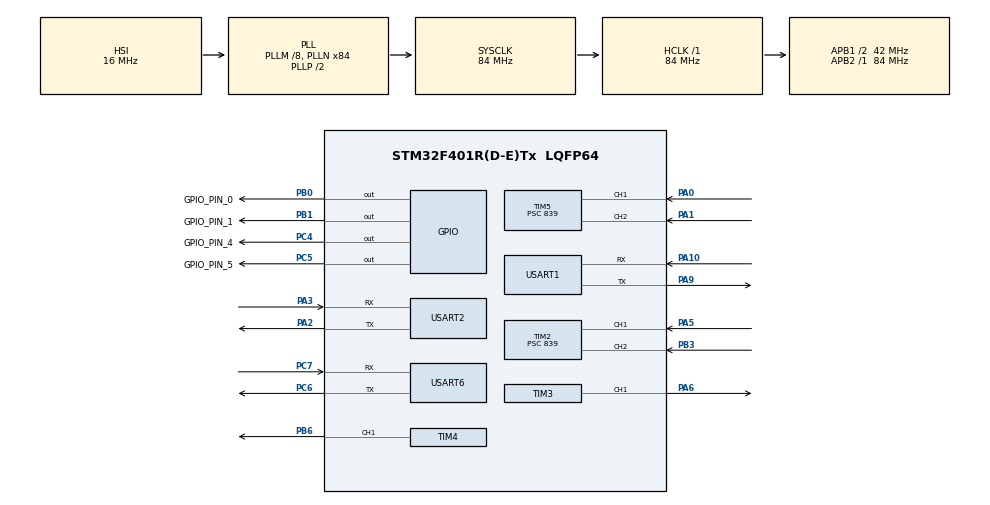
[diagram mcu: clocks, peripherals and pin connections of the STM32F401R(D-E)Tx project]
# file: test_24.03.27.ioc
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Dma.Request0=USART6_RX
Dma.Request1=USART6_TX
Dma.Request2=USART1_RX
Dma.Request3=USART2_RX
Dma.Request4=USART2_TX
Dma.Request5=USART1_TX
Dma.USART1_RX.2.Direction=DMA_PERIPH_TO_MEMORY
Dma.USART1_RX.2.FIFOMode=DMA_FIFOMODE_DISABLE
Dma.USART1_RX.2.Instance=DMA2_Stream2
Dma.USART1_RX.2.MemDataAlignment=DMA_MDATAALIGN_BYTE
Dma.USART1_RX.2.MemInc=DMA_MINC_ENABLE
Dma.USART1_RX.2.Mode=DMA_CIRCULAR
Dma.USART1_RX.2.PeriphDataAlignment=DMA_PDATAALIGN_BYTE
Dma.USART1_RX.2.PeriphInc=DMA_PINC_DISABLE
Dma.USART1_RX.2.Priority=DMA_PRIORITY_LOW
Dma.USART1_TX.5.Direction=DMA_MEMORY_TO_PERIPH
Dma.USART1_TX.5.FIFOMode=DMA_FIFOMODE_DISABLE
Dma.USART1_TX.5.Instance=DMA2_Stream7
Dma.USART1_TX.5.MemDataAlignment=DMA_MDATAALIGN_BYTE
Dma.USART1_TX.5.MemInc=DMA_MINC_ENABLE
Dma.USART1_TX.5.Mode=DMA_CIRCULAR
Dma.USART1_TX.5.PeriphDataAlignment=DMA_PDATAALIGN_BYTE
Dma.USART1_TX.5.PeriphInc=DMA_PINC_DISABLE
Dma.USART1_TX.5.Priority=DMA_PRIORITY_LOW
Dma.USART2_RX.3.Direction=DMA_PERIPH_TO_MEMORY
Dma.USART2_RX.3.FIFOMode=DMA_FIFOMODE_DISABLE
Dma.USART2_RX.3.Instance=DMA1_Stream5
Dma.USART2_RX.3.MemDataAlignment=DMA_MDATAALIGN_BYTE
Dma.USART2_RX.3.MemInc=DMA_MINC_ENABLE
Dma.USART2_RX.3.Mode=DMA_CIRCULAR
Dma.USART2_RX.3.PeriphDataAlignment=DMA_PDATAALIGN_BYTE
Dma.USART2_RX.3.PeriphInc=DMA_PINC_DISABLE
Dma.USART2_RX.3.Priority=DMA_PRIORITY_LOW
Dma.USART2_TX.4.Direction=DMA_MEMORY_TO_PERIPH
Dma.USART2_TX.4.FIFOMode=DMA_FIFOMODE_DISABLE
Dma.USART2_TX.4.Instance=DMA1_Stream6
Dma.USART2_TX.4.MemDataAlignment=DMA_MDATAALIGN_BYTE
Dma.USART2_TX.4.MemInc=DMA_MINC_ENABLE
Dma.USART2_TX.4.Mode=DMA_CIRCULAR
Dma.USART2_TX.4.PeriphDataAlignment=DMA_PDATAALIGN_BYTE
Dma.USART2_TX.4.PeriphInc=DMA_PINC_DISABLE
Dma.USART2_TX.4.Priority=DMA_PRIORITY_LOW
Dma.USART6_RX.0.Direction=DMA_PERIPH_TO_MEMORY
Dma.USART6_RX.0.FIFOMode=DMA_FIFOMODE_DISABLE
Dma.USART6_RX.0.Instance=DMA2_Stream1
Dma.USART6_RX.0.MemDataAlignment=DMA_MDATAALIGN_BYTE
Dma.USART6_RX.0.MemInc=DMA_MINC_ENABLE
Dma.USART6_RX.0.Mode=DMA_NORMAL
Dma.USART6_RX.0.PeriphDataAlignment=DMA_PDATAALIGN_BYTE
Dma.USART6_RX.0.PeriphInc=DMA_PINC_DISABLE
Dma.USART6_RX.0.Priority=DMA_PRIORITY_LOW
Dma.USART6_TX.1.Direction=DMA_MEMORY_TO_PERIPH
Dma.USART6_TX.1.FIFOMode=DMA_FIFOMODE_DISABLE
Dma.USART6_TX.1.Instance=DMA2_Stream6
Dma.USART6_TX.1.MemDataAlignment=DMA_MDATAALIGN_BYTE
Dma.USART6_TX.1.MemInc=DMA_MINC_ENABLE
Dma.USART6_TX.1.Mode=DMA_NORMAL
Dma.USART6_TX.1.PeriphDataAlignment=DMA_PDATAALIGN_BYTE
Dma.USART6_TX.1.PeriphInc=DMA_PINC_DISABLE
Dma.USART6_TX.1.Priority=DMA_PRIORITY_LOW
Mcu.Family=STM32F4
Mcu.Name=STM32F401R(D-E)Tx
Mcu.Package=LQFP64
NVIC.DMA1_Stream5_IRQn=true\:0\:0\:false\:false\:true\:false\:true\:true
NVIC.DMA1_Stream6_IRQn=true\:0\:0\:false\:false\:true\:false\:true\:true
NVIC.DMA2_Stream1_IRQn=true\:0\:0\:false\:false\:true\:false\:true\:true
NVIC.DMA2_Stream2_IRQn=true\:0\:0\:false\:false\:true\:false\:true\:true
NVIC.DMA2_Stream6_IRQn=true\:0\:0\:false\:false\:true\:false\:true\:true
NVIC.DMA2_Stream7_IRQn=true\:0\:0\:false\:false\:true\:false\:true\:true
NVIC.PriorityGroup=NVIC_PRIORITYGROUP_4
NVIC.TIM1_BRK_TIM9_IRQn=true\:0\:0\:false\:false\:true\:true\:true\:true
NVIC.TIM2_IRQn=true\:0\:0\:false\:true\:true\:1\:true\:true\:true
NVIC.TIM3_IRQn=true\:0\:0\:false\:true\:true\:2\:true\:true\:true
NVIC.TIM4_IRQn=true\:0\:0\:false\:true\:true\:3\:true\:true\:true
NVIC.TIM5_IRQn=true\:0\:0\:false\:true\:true\:4\:true\:true\:true
NVIC.USART1_IRQn=true\:0\:0\:false\:false\:true\:true\:true\:true
NVIC.USART2_IRQn=true\:0\:0\:false\:false\:true\:true\:true\:true
NVIC.USART6_IRQn=true\:0\:0\:false\:false\:true\:true\:true\:true
PA0-WKUP.Signal=S_TIM5_CH1
PA1.Signal=S_TIM5_CH2
PA10.Mode=Asynchronous
PA10.Signal=USART1_RX
PA2.Mode=Asynchronous
PA2.Signal=USART2_TX
PA3.Mode=Asynchronous
PA3.Signal=USART2_RX
PA5.Signal=S_TIM2_CH1_ETR
PA6.Signal=S_TIM3_CH1
PA9.Mode=Asynchronous
PA9.Signal=USART1_TX
PB0.GPIO_Label=GPIO_PIN_0
PB0.Signal=GPIO_Output
PB1.GPIO_Label=GPIO_PIN_1
PB1.Signal=GPIO_Output
PB3.Signal=S_TIM2_CH2
PB6.Signal=S_TIM4_CH1
PC4.GPIO_Label=GPIO_PIN_4
PC4.Signal=GPIO_Output
PC5.GPIO_Label=GPIO_PIN_5
PC5.Signal=GPIO_Output
PC6.Mode=Asynchronous
PC6.Signal=USART6_TX
PC7.Mode=Asynchronous
PC7.Signal=USART6_RX
ProjectManager.HeapSize=0x200
ProjectManager.StackSize=0x400
ProjectManager.TargetToolchain=STM32CubeIDE
RCC.48MHZClocksFreq_Value=42000000
RCC.AHBFreq_Value=84000000
RCC.APB1CLKDivider=RCC_HCLK_DIV2
RCC.APB1Freq_Value=42000000
RCC.APB1TimFreq_Value=84000000
RCC.APB2Freq_Value=84000000
RCC.APB2TimFreq_Value=84000000
RCC.CortexFreq_Value=84000000
RCC.HCLKFreq_Value=84000000
RCC.HSE_VALUE=25000000
RCC.HSI_VALUE=16000000
RCC.LSE_VALUE=32768
RCC.PLLM=8
RCC.PLLN=84
RCC.SYSCLKFreq_VALUE=84000000
RCC.SYSCLKSource=RCC_SYSCLKSOURCE_PLLCLK
RCC.VCOOutputFreq_Value=168000000
SH.S_TIM2_CH1_ETR.0=TIM2_CH1,Encoder_Interface
SH.S_TIM2_CH2.0=TIM2_CH2,Encoder_Interface
SH.S_TIM3_CH1.0=TIM3_CH1,PWM Generation1 CH1
SH.S_TIM4_CH1.0=TIM4_CH1,PWM Generation1 CH1
SH.S_TIM5_CH1.0=TIM5_CH1,Encoder_Interface
SH.S_TIM5_CH2.0=TIM5_CH2,Encoder_Interface
TIM2.EncoderMode=TIM_ENCODERMODE_TI12
TIM2.Period=99
TIM2.Prescaler=839
TIM3.Channel-PWM\ Generation1\ CH1=TIM_CHANNEL_1
TIM3.Period=4200-1
TIM4.Channel-PWM\ Generation1\ CH1=TIM_CHANNEL_1
TIM4.Period=4200-1
TIM5.EncoderMode=TIM_ENCODERMODE_TI12
TIM5.Period=99
TIM5.Prescaler=839
TIM9.Period=99
TIM9.Prescaler=839
USART1.VirtualMode=VM_ASYNC
USART2.VirtualMode=VM_ASYNC
USART6.VirtualMode=VM_ASYNC
VP_TIM9_VS_ClockSourceINT.Mode=Internal
board=custom

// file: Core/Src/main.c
/* USER CODE BEGIN Header */
/**
  ******************************************************************************
  * @file           : main.c
  * @brief          : Main program body
  ******************************************************************************
  * @attention
  *
  * Copyright (c) 2024 STMicroelectronics.
  * All rights reserved.
  *
  * This software is licensed under terms that can be found in the LICENSE file
  * in the root directory of this software component.
  * If no LICENSE file comes with this software, it is provided AS-IS.
  *
  ******************************************************************************
  */
/* USER CODE END Header */
#include "main.h"

/* USER CODE BEGIN Includes */
#include <stdlib.h>
#include <stdio.h>
#define _USE_MATH_DEFINES
#include <sys/time.h>
#include <math.h>
/* USER CODE END Includes */

TIM_HandleTypeDef htim2;
TIM_HandleTypeDef htim3;
TIM_HandleTypeDef htim4;
TIM_HandleTypeDef htim5;
TIM_HandleTypeDef htim9;

UART_HandleTypeDef huart1;
UART_HandleTypeDef huart2;
UART_HandleTypeDef huart6;
DMA_HandleTypeDef hdma_usart1_rx;
DMA_HandleTypeDef hdma_usart1_tx;
DMA_HandleTypeDef hdma_usart2_rx;
DMA_HandleTypeDef hdma_usart2_tx;
DMA_HandleTypeDef hdma_usart6_rx;
DMA_HandleTypeDef hdma_usart6_tx;

/* USER CODE BEGIN PV */
unsigned char IMUarray[31] = {0};
char *pos = NULL;
float roll = 0.0, pitch = 0.0, yaw = 0.0;
float roll_tp = 0.0, pitch_tp = 0.0, yaw_tp = 0.0;
int cnt0 = 0, cnt1 = 0, cnt2 = 0, cnt3 = 0, cnt4 = 0;
char alpha[10] = {0}, beta[10] = {0}, gamm[10] = {0};
double target_pitch = 0;
double target_v = 0;
//double Kp = 17.35555555;
double Kp = 15.55555555;
//double Ki = 0.000001;
//double Kd = 5.065;
double Kd = 0.5765;
double Ki=0;//1.0000000001;
//double Kd=0;
double pTerm, iTerm, dTerm;
double prevError = 0;
double integratedSum = 0;
struct timeval tv, tv2;
double current_pitch = 0;
double current_w1 = 0;
double current_w2 = 0;

uint16_t counter1 = 0;
uint16_t counter2 = 0;
uint16_t current_counter1 = 0;
uint16_t current_counter2 = 0;
float count1_w = 0.0;
float count2_w = 0.0;
uint16_t Motor_CCR1 = 2100;
uint16_t Motor_CCR2 = 2100;
int cnt = 0;
int cnt_20ms=0;
int32_t delta_count1;
int32_t delta_count2;
double angle1 = 0;
double angle2 = 0;
double angle1_pre = 0;
double angle2_pre = 0;
double omega1 = 0;
double omega2 = 0;
double rpm1 = 0;
double rpm2 = 0;

double d_error;
int flag = 0;
double eeeeeeeeeee = 0;
double d_deltaT = 0.020;
double c_roll;

int a = 0;
/* USER CODE END PV */

void SystemClock_Config(void);
static void MX_GPIO_Init(void);
static void MX_DMA_Init(void);
static void MX_TIM2_Init(void);
static void MX_TIM3_Init(void);
static void MX_TIM9_Init(void);
static void MX_TIM4_Init(void);
static void MX_TIM5_Init(void);
static void MX_USART6_UART_Init(void);
static void MX_USART1_UART_Init(void);
static void MX_USART2_UART_Init(void);
static void MX_NVIC_Init(void);
/* USER CODE BEGIN PFP */
double PI(double target_v, double current_v);
double PD(double current_pitch);
void get_pitch();
/* USER CODE END PFP */

/* USER CODE BEGIN 0 */
void HAL_TIM_PeriodElapsedCallback(TIM_HandleTypeDef *htim){
	if(htim == &htim9){ //?  ?  주기]
		cnt++; //0.001s

		angle1_pre = angle1;
		current_counter1 = counter1;
		counter1 = TIM2->CNT;
		delta_count1 = (counter1 - current_counter1);

		angle2_pre = angle2;
		current_counter2 = counter2;
		counter2 = TIM5->CNT;
		delta_count2 = (counter2 - current_counter2);

		if(counter1>60000 && current_counter1 < 10000) delta_count1 -= 65535;
		else if(counter1 < 10000 && current_counter1 > 60000) delta_count1 += 65535;
		angle1 += (((double)delta_count1/2048.0/19.0)*360)*(M_PI/180.0);
		omega1 = (angle1 - angle1_pre) / 0.001;
		rpm1 = ((60/(2*M_PI))*omega1);

		if(counter2>60000 && current_counter2 < 10000) delta_count2 -= 65535;
		else if(counter2 < 10000 && current_counter2 > 60000) delta_count2 += 65535;
		angle2 += (((double)delta_count2/2048.0/19.0)*360)*(M_PI/180.0);
		omega2 = (angle2 - angle2_pre) / 0.001;
		rpm2 = ((60/(2*M_PI))*omega2);

		// 10 ??????  2ms(encoder)  20ms(imu)

		if(cnt%20 == 0){
			d_error = target_pitch - current_pitch;
			cnt_20ms++;
			get_pitch();
			current_pitch = roll; // 멈추�?? if문에 ?���??
			c_roll = PD(current_pitch);

			HAL_GPIO_WritePin(GPIOC, GPIO_PIN_5, GPIO_PIN_SET);
			HAL_GPIO_WritePin(GPIOC, GPIO_PIN_4, GPIO_PIN_RESET);
			HAL_GPIO_WritePin(GPIOB, GPIO_PIN_0, GPIO_PIN_SET);
			HAL_GPIO_WritePin(GPIOB, GPIO_PIN_1, GPIO_PIN_RESET);

			if(PD(current_pitch)<4200 && PD(current_pitch)>0){
				target_v = PD(current_pitch);
			}

			if(PD(current_pitch)<0 ){
				target_v = -1*PD(current_pitch);
				HAL_GPIO_WritePin(GPIOC, GPIO_PIN_5, GPIO_PIN_RESET);
				HAL_GPIO_WritePin(GPIOC, GPIO_PIN_4, GPIO_PIN_RESET);
				HAL_GPIO_WritePin(GPIOB, GPIO_PIN_0, GPIO_PIN_RESET);
				HAL_GPIO_WritePin(GPIOB, GPIO_PIN_1, GPIO_PIN_RESET);

			}

			if(PD(current_pitch)>4200){
				target_v = 4200;
				//최댓 ?????? ?   ??????
			}

			if(current_pitch > 15 || current_pitch <-15){
				target_v = 0;
			}

			prevError = d_error;
		}
//		Motor_CCR = target_v;

		if(cnt%2 == 0){

			current_w1 = omega1;
			Motor_CCR1 = PI(target_v, current_w1);
			current_w2 = omega2;
			Motor_CCR2 = PI(target_v, current_w2);
			if(current_pitch <5 && current_pitch >-5){
				Kp = 15.05;
				Kd = 0.655;
				Ki = 0.01;
				if(PI(target_v, current_w1)<4200 && PI(target_v, current_w1)>0){
					Motor_CCR1 = PI(target_v, current_w1);
				}
				if(PI(target_v, current_w1)<0){
					Motor_CCR1 = -1*PI(target_v, current_w1);
					//모터 방향 ?  ?
				}
				if(PI(target_v, current_w1)>4200){
					Motor_CCR1 = 4200;

					//최댓 ?????? ?   ??????
				}
				if(PI(target_v, current_w2)<4200 && PI(target_v, current_w2)>0){
					Motor_CCR2 = PI(target_v, current_w2);
				}
				if(PI(target_v, current_w2)<0){
					Motor_CCR2 = -1*PI(target_v, current_w2);
					//모터 방향 ?  ?
				}
				if(PI(target_v, current_w2)>4200){
					Motor_CCR2 = 4200;
					//최댓 ?????? ?   ??????
				}
			}
			else if((current_pitch < 10 && current_pitch >5) || (current_pitch >-10 && current_pitch <-5)){
				Kp = 17.0;
				Kd = 0.2;
				Ki = 0.001;
				if(PI(target_v, current_w1)<4200 && PI(target_v, current_w1)>0){
					Motor_CCR1 = PI(target_v, current_w1);
				}
				if(PI(target_v, current_w1)<0){
					Motor_CCR1 = -1*PI(target_v, current_w1);
					//모터 방향 ?  ?
				}
				if(PI(target_v, current_w1)>4200){
					Motor_CCR1 = 4200;
				}
				if(PI(target_v, current_w2)<4200 && PI(target_v, current_w2)>0){
					Motor_CCR2 = PI(target_v, current_w2);
				}
				if(PI(target_v, current_w2)<0){
					Motor_CCR2 = -1*PI(target_v, current_w2);
					//모터 방향 ?  ?
				}
				if(PI(target_v, current_w2)>4200){
					Motor_CCR2 = 4200;
					//최댓 ?????? ?   ??????
				}
			}
			else if((current_pitch < 15 && current_pitch >10) || (current_pitch >-15 && current_pitch <-10)) {
				Motor_CCR1 = 4200;
				Motor_CCR2 = 4200;
			}
//			else if((current_pitch < 15 && current_pitch >10) || (current_pitch >-15 && current_pitch <-10)){
//				Kp = 19.5;
//				Kd = 0.08;
//				Ki = 0.00001;
//				if(PI(target_v, current_w1)<4200 && PI(target_v, current_w1)>0){
//					Motor_CCR1 = PI(target_v, current_w1);
//				}
//				if(PI(target_v, current_w1)<0){
//					Motor_CCR1 = -1*PI(target_v, current_w1);
//					//모터 방향 ?  ?
//				}
//				if(PI(target_v, current_w1)>4200){
//					Motor_CCR1 = 4200;
//				}
//				if(PI(target_v, current_w2)<4200 && PI(target_v, current_w2)>0){
//					Motor_CCR2 = PI(target_v, current_w2);
//				}
//				if(PI(target_v, current_w2)<0){
//					Motor_CCR2 = -1*PI(target_v, current_w2);
//					//모터 방향 ?  ?
//				}
//				if(PI(target_v, current_w2)>4200){
//					Motor_CCR2 = 4200;
//					//최댓 ?????? ?   ??????
//				}
//			}
/*			if(PI(target_v, current_w1)<4200 && PI(target_v, current_w1)>0){
				Motor_CCR1 = PI(target_v, current_w1);
			}
			if(PI(target_v, current_w1)<0){
				Motor_CCR1 = -1*PI(target_v, current_w1);
				//모터 방향 ?  ?
			}
			if(PI(target_v, current_w1)>4200){
				Motor_CCR1 = 4200;
				//최댓 ?????? ?   ??????
			}*/

			/*if(PI(target_v, current_w2)<4200 && PI(target_v, current_w2)>0){
				Motor_CCR2 = PI(target_v, current_w2);
			}
			if(PI(target_v, current_w2)<0){
				Motor_CCR2 = -1*PI(target_v, current_w2);
//				//모터 방향 ?  ?
			}
			if(PI(target_v, current_w2)>4200){
				Motor_CCR2 = 4200;
				//최댓 ?????? ?   ??????
			}*/
			else if(target_v == 0){
				Motor_CCR1 = 0;
				Motor_CCR2 = 0;
			}
		}

		// Motor_CCR = tager_v + Motor_CCR;  // target_v + Motor_CCR

		TIM3->CCR1 = Motor_CCR1;
		/*HAL_GPIO_WritePin(GPIOB, GPIO_PIN_0, GPIO_PIN_SET);
		HAL_GPIO_WritePin(GPIOB, GPIO_PIN_1, GPIO_PIN_RESET); //break*/

		TIM4->CCR1 = Motor_CCR2;
		/*HAL_GPIO_WritePin(GPIOC, GPIO_PIN_5, GPIO_PIN_SET);
		HAL_GPIO_WritePin(GPIOC, GPIO_PIN_4, GPIO_PIN_RESET); //break*/

//
//		counter1 = TIM2->CNT;
//		counter2 = TIM5->CNT;
//		delta_count1 = (int32_t)(counter1 - current_counter1);
//		delta_count2 = (int32_t)(counter2 - current_counter2);
//		count1_w = (2*M_PI*delta_count1)/(0.1*512*4);
//		count2_w = (2*M_PI*delta_count2)/(0.1*512*4);
//		current_counter1 = counter1;
//		current_counter2 = counter2;
	}

}
/* USER CODE END 0 */

int main(void)
{

  /* MCU Configuration--------------------------------------------------------*/

  /* Reset of all peripherals, Initializes the Flash interface and the Systick. */
  HAL_Init();

  /* Configure the system clock */
  SystemClock_Config();

  /* Initialize all configured peripherals */
  MX_GPIO_Init();
  MX_DMA_Init();
  MX_TIM2_Init();
  MX_TIM3_Init();
  MX_TIM9_Init();
  MX_TIM4_Init();
  MX_TIM5_Init();
  MX_USART6_UART_Init();
  MX_USART1_UART_Init();
  MX_USART2_UART_Init();

  /* Initialize interrupts */
  MX_NVIC_Init();
  /* USER CODE BEGIN 2 */
  HAL_TIM_Encoder_Start_IT(&htim2, TIM_CHANNEL_ALL);
  HAL_TIM_Encoder_Start_IT(&htim5, TIM_CHANNEL_ALL);

  HAL_TIM_Base_Start_IT(&htim9);
  HAL_TIM_PWM_Start(&htim3, TIM_CHANNEL_1);
  HAL_TIMEx_PWMN_Start(&htim3, TIM_CHANNEL_1);
  HAL_TIM_PWM_Start(&htim4, TIM_CHANNEL_1);
  HAL_TIMEx_PWMN_Start(&htim4, TIM_CHANNEL_1);
  /* USER CODE END 2 */

  /* Infinite loop */
  while (1)
  {

  }
}

void SystemClock_Config(void)
{
  RCC_OscInitTypeDef RCC_OscInitStruct = {0};
  RCC_ClkInitTypeDef RCC_ClkInitStruct = {0};

  /** Configure the main internal regulator output voltage
  */
  __HAL_RCC_PWR_CLK_ENABLE();
  __HAL_PWR_VOLTAGESCALING_CONFIG(PWR_REGULATOR_VOLTAGE_SCALE2);

  /** Initializes the RCC Oscillators according to the specified parameters
  * in the RCC_OscInitTypeDef structure.
  */
  RCC_OscInitStruct.OscillatorType = RCC_OSCILLATORTYPE_HSI;
  RCC_OscInitStruct.HSIState = RCC_HSI_ON;
  RCC_OscInitStruct.HSICalibrationValue = RCC_HSICALIBRATION_DEFAULT;
  RCC_OscInitStruct.PLL.PLLState = RCC_PLL_ON;
  RCC_OscInitStruct.PLL.PLLSource = RCC_PLLSOURCE_HSI;
  RCC_OscInitStruct.PLL.PLLM = 8;
  RCC_OscInitStruct.PLL.PLLN = 84;
  RCC_OscInitStruct.PLL.PLLP = RCC_PLLP_DIV2;
  RCC_OscInitStruct.PLL.PLLQ = 4;
  if (HAL_RCC_OscConfig(&RCC_OscInitStruct) != HAL_OK)
  {
    Error_Handler();
  }

  /** Initializes the CPU, AHB and APB buses clocks
  */
  RCC_ClkInitStruct.ClockType = RCC_CLOCKTYPE_HCLK|RCC_CLOCKTYPE_SYSCLK
                              |RCC_CLOCKTYPE_PCLK1|RCC_CLOCKTYPE_PCLK2;
  RCC_ClkInitStruct.SYSCLKSource = RCC_SYSCLKSOURCE_PLLCLK;
  RCC_ClkInitStruct.AHBCLKDivider = RCC_SYSCLK_DIV1;
  RCC_ClkInitStruct.APB1CLKDivider = RCC_HCLK_DIV2;
  RCC_ClkInitStruct.APB2CLKDivider = RCC_HCLK_DIV1;

  if (HAL_RCC_ClockConfig(&RCC_ClkInitStruct, FLASH_LATENCY_2) != HAL_OK)
  {
    Error_Handler();
  }
}

/**
  * @brief NVIC Configuration.
  * @retval None
  */
static void MX_NVIC_Init(void)
{
  /* TIM2_IRQn interrupt configuration */
  HAL_NVIC_SetPriority(TIM2_IRQn, 0, 0);
  HAL_NVIC_EnableIRQ(TIM2_IRQn);
  /* TIM3_IRQn interrupt configuration */
  HAL_NVIC_SetPriority(TIM3_IRQn, 0, 0);
  HAL_NVIC_EnableIRQ(TIM3_IRQn);
  /* TIM4_IRQn interrupt configuration */
  HAL_NVIC_SetPriority(TIM4_IRQn, 0, 0);
  HAL_NVIC_EnableIRQ(TIM4_IRQn);
  /* TIM5_IRQn interrupt configuration */
  HAL_NVIC_SetPriority(TIM5_IRQn, 0, 0);
  HAL_NVIC_EnableIRQ(TIM5_IRQn);
}

static void MX_TIM2_Init(void)
{

  TIM_Encoder_InitTypeDef sConfig = {0};
  TIM_MasterConfigTypeDef sMasterConfig = {0};

  htim2.Instance = TIM2;
  htim2.Init.Prescaler = 839;
  htim2.Init.CounterMode = TIM_COUNTERMODE_UP;
  htim2.Init.Period = 99;
  htim2.Init.ClockDivision = TIM_CLOCKDIVISION_DIV1;
  htim2.Init.AutoReloadPreload = TIM_AUTORELOAD_PRELOAD_DISABLE;
  sConfig.EncoderMode = TIM_ENCODERMODE_TI12;
  sConfig.IC1Polarity = TIM_ICPOLARITY_RISING;
  sConfig.IC1Selection = TIM_ICSELECTION_DIRECTTI;
  sConfig.IC1Prescaler = TIM_ICPSC_DIV1;
  sConfig.IC1Filter = 0;
  sConfig.IC2Polarity = TIM_ICPOLARITY_RISING;
  sConfig.IC2Selection = TIM_ICSELECTION_DIRECTTI;
  sConfig.IC2Prescaler = TIM_ICPSC_DIV1;
  sConfig.IC2Filter = 0;
  if (HAL_TIM_Encoder_Init(&htim2, &sConfig) != HAL_OK)
  {
    Error_Handler();
  }
  sMasterConfig.MasterOutputTrigger = TIM_TRGO_RESET;
  sMasterConfig.MasterSlaveMode = TIM_MASTERSLAVEMODE_DISABLE;
  if (HAL_TIMEx_MasterConfigSynchronization(&htim2, &sMasterConfig) != HAL_OK)
  {
    Error_Handler();
  }
  /* USER CODE BEGIN TIM2_Init 2 */
  HAL_NVIC_SetPriority(TIM2_IRQn, 0, 0);
  HAL_NVIC_EnableIRQ(TIM2_IRQn);
  /* USER CODE END TIM2_Init 2 */

}

static void MX_TIM3_Init(void)
{

  TIM_MasterConfigTypeDef sMasterConfig = {0};
  TIM_OC_InitTypeDef sConfigOC = {0};

  htim3.Instance = TIM3;
  htim3.Init.Prescaler = 0;
  htim3.Init.CounterMode = TIM_COUNTERMODE_UP;
  htim3.Init.Period = 4200-1;
  htim3.Init.ClockDivision = TIM_CLOCKDIVISION_DIV1;
  htim3.Init.AutoReloadPreload = TIM_AUTORELOAD_PRELOAD_DISABLE;
  if (HAL_TIM_PWM_Init(&htim3) != HAL_OK)
  {
    Error_Handler();
  }
  sMasterConfig.MasterOutputTrigger = TIM_TRGO_RESET;
  sMasterConfig.MasterSlaveMode = TIM_MASTERSLAVEMODE_DISABLE;
  if (HAL_TIMEx_MasterConfigSynchronization(&htim3, &sMasterConfig) != HAL_OK)
  {
    Error_Handler();
  }
  sConfigOC.OCMode = TIM_OCMODE_PWM1;
  sConfigOC.Pulse = 0;
  sConfigOC.OCPolarity = TIM_OCPOLARITY_HIGH;
  sConfigOC.OCFastMode = TIM_OCFAST_DISABLE;
  if (HAL_TIM_PWM_ConfigChannel(&htim3, &sConfigOC, TIM_CHANNEL_1) != HAL_OK)
  {
    Error_Handler();
  }
  HAL_TIM_MspPostInit(&htim3);

}

static void MX_TIM4_Init(void)
{

  TIM_MasterConfigTypeDef sMasterConfig = {0};
  TIM_OC_InitTypeDef sConfigOC = {0};

  htim4.Instance = TIM4;
  htim4.Init.Prescaler = 0;
  htim4.Init.CounterMode = TIM_COUNTERMODE_UP;
  htim4.Init.Period = 4200-1;
  htim4.Init.ClockDivision = TIM_CLOCKDIVISION_DIV1;
  htim4.Init.AutoReloadPreload = TIM_AUTORELOAD_PRELOAD_DISABLE;
  if (HAL_TIM_PWM_Init(&htim4) != HAL_OK)
  {
    Error_Handler();
  }
  sMasterConfig.MasterOutputTrigger = TIM_TRGO_RESET;
  sMasterConfig.MasterSlaveMode = TIM_MASTERSLAVEMODE_DISABLE;
  if (HAL_TIMEx_MasterConfigSynchronization(&htim4, &sMasterConfig) != HAL_OK)
  {
    Error_Handler();
  }
  sConfigOC.OCMode = TIM_OCMODE_PWM1;
  sConfigOC.Pulse = 0;
  sConfigOC.OCPolarity = TIM_OCPOLARITY_HIGH;
  sConfigOC.OCFastMode = TIM_OCFAST_DISABLE;
  if (HAL_TIM_PWM_ConfigChannel(&htim4, &sConfigOC, TIM_CHANNEL_1) != HAL_OK)
  {
    Error_Handler();
  }
  HAL_TIM_MspPostInit(&htim4);

}

static void MX_TIM5_Init(void)
{

  TIM_Encoder_InitTypeDef sConfig = {0};
  TIM_MasterConfigTypeDef sMasterConfig = {0};

  htim5.Instance = TIM5;
  htim5.Init.Prescaler = 839;
  htim5.Init.CounterMode = TIM_COUNTERMODE_UP;
  htim5.Init.Period = 99;
  htim5.Init.ClockDivision = TIM_CLOCKDIVISION_DIV1;
  htim5.Init.AutoReloadPreload = TIM_AUTORELOAD_PRELOAD_DISABLE;
  sConfig.EncoderMode = TIM_ENCODERMODE_TI12;
  sConfig.IC1Polarity = TIM_ICPOLARITY_RISING;
  sConfig.IC1Selection = TIM_ICSELECTION_DIRECTTI;
  sConfig.IC1Prescaler = TIM_ICPSC_DIV1;
  sConfig.IC1Filter = 0;
  sConfig.IC2Polarity = TIM_ICPOLARITY_RISING;
  sConfig.IC2Selection = TIM_ICSELECTION_DIRECTTI;
  sConfig.IC2Prescaler = TIM_ICPSC_DIV1;
  sConfig.IC2Filter = 0;
  if (HAL_TIM_Encoder_Init(&htim5, &sConfig) != HAL_OK)
  {
    Error_Handler();
  }
  sMasterConfig.MasterOutputTrigger = TIM_TRGO_RESET;
  sMasterConfig.MasterSlaveMode = TIM_MASTERSLAVEMODE_DISABLE;
  if (HAL_TIMEx_MasterConfigSynchronization(&htim5, &sMasterConfig) != HAL_OK)
  {
    Error_Handler();
  }
  /* USER CODE BEGIN TIM5_Init 2 */
  HAL_NVIC_SetPriority(TIM5_IRQn, 0, 0);
  HAL_NVIC_EnableIRQ(TIM5_IRQn);
  /* USER CODE END TIM5_Init 2 */

}

static void MX_TIM9_Init(void)
{

  TIM_ClockConfigTypeDef sClockSourceConfig = {0};

  htim9.Instance = TIM9;
  htim9.Init.Prescaler = 839;
  htim9.Init.CounterMode = TIM_COUNTERMODE_UP;
  htim9.Init.Period = 99;
  htim9.Init.ClockDivision = TIM_CLOCKDIVISION_DIV1;
  htim9.Init.AutoReloadPreload = TIM_AUTORELOAD_PRELOAD_DISABLE;
  if (HAL_TIM_Base_Init(&htim9) != HAL_OK)
  {
    Error_Handler();
  }
  sClockSourceConfig.ClockSource = TIM_CLOCKSOURCE_INTERNAL;
  if (HAL_TIM_ConfigClockSource(&htim9, &sClockSourceConfig) != HAL_OK)
  {
    Error_Handler();
  }

}

static void MX_USART1_UART_Init(void)
{

  huart1.Instance = USART1;
  huart1.Init.BaudRate = 115200;
  huart1.Init.WordLength = UART_WORDLENGTH_8B;
  huart1.Init.StopBits = UART_STOPBITS_1;
  huart1.Init.Parity = UART_PARITY_NONE;
  huart1.Init.Mode = UART_MODE_TX_RX;
  huart1.Init.HwFlowCtl = UART_HWCONTROL_NONE;
  huart1.Init.OverSampling = UART_OVERSAMPLING_16;
  if (HAL_UART_Init(&huart1) != HAL_OK)
  {
    Error_Handler();
  }

}

static void MX_USART2_UART_Init(void)
{

  huart2.Instance = USART2;
  huart2.Init.BaudRate = 115200;
  huart2.Init.WordLength = UART_WORDLENGTH_8B;
  huart2.Init.StopBits = UART_STOPBITS_1;
  huart2.Init.Parity = UART_PARITY_NONE;
  huart2.Init.Mode = UART_MODE_TX_RX;
  huart2.Init.HwFlowCtl = UART_HWCONTROL_NONE;
  huart2.Init.OverSampling = UART_OVERSAMPLING_16;
  if (HAL_UART_Init(&huart2) != HAL_OK)
  {
    Error_Handler();
  }

}

static void MX_USART6_UART_Init(void)
{

  huart6.Instance = USART6;
  huart6.Init.BaudRate = 115200;
  huart6.Init.WordLength = UART_WORDLENGTH_8B;
  huart6.Init.StopBits = UART_STOPBITS_1;
  huart6.Init.Parity = UART_PARITY_NONE;
  huart6.Init.Mode = UART_MODE_TX_RX;
  huart6.Init.HwFlowCtl = UART_HWCONTROL_NONE;
  huart6.Init.OverSampling = UART_OVERSAMPLING_16;
  if (HAL_UART_Init(&huart6) != HAL_OK)
  {
    Error_Handler();
  }

}

static void MX_DMA_Init(void)
{

  /* DMA controller clock enable */
  __HAL_RCC_DMA2_CLK_ENABLE();
  __HAL_RCC_DMA1_CLK_ENABLE();

  /* DMA interrupt init */
  /* DMA1_Stream5_IRQn interrupt configuration */
  HAL_NVIC_SetPriority(DMA1_Stream5_IRQn, 0, 0);
  HAL_NVIC_EnableIRQ(DMA1_Stream5_IRQn);
  /* DMA1_Stream6_IRQn interrupt configuration */
  HAL_NVIC_SetPriority(DMA1_Stream6_IRQn, 0, 0);
  HAL_NVIC_EnableIRQ(DMA1_Stream6_IRQn);
  /* DMA2_Stream1_IRQn interrupt configuration */
  HAL_NVIC_SetPriority(DMA2_Stream1_IRQn, 0, 0);
  HAL_NVIC_EnableIRQ(DMA2_Stream1_IRQn);
  /* DMA2_Stream2_IRQn interrupt configuration */
  HAL_NVIC_SetPriority(DMA2_Stream2_IRQn, 0, 0);
  HAL_NVIC_EnableIRQ(DMA2_Stream2_IRQn);
  /* DMA2_Stream6_IRQn interrupt configuration */
  HAL_NVIC_SetPriority(DMA2_Stream6_IRQn, 0, 0);
  HAL_NVIC_EnableIRQ(DMA2_Stream6_IRQn);
  /* DMA2_Stream7_IRQn interrupt configuration */
  HAL_NVIC_SetPriority(DMA2_Stream7_IRQn, 0, 0);
  HAL_NVIC_EnableIRQ(DMA2_Stream7_IRQn);

}

static void MX_GPIO_Init(void)
{
  GPIO_InitTypeDef GPIO_InitStruct = {0};

  /* GPIO Ports Clock Enable */
  __HAL_RCC_GPIOA_CLK_ENABLE();
  __HAL_RCC_GPIOC_CLK_ENABLE();
  __HAL_RCC_GPIOB_CLK_ENABLE();

  /*Configure GPIO pin Output Level */
  HAL_GPIO_WritePin(GPIOC, GPIO_PIN_4_Pin|GPIO_PIN_5_Pin, GPIO_PIN_RESET);

  /*Configure GPIO pin Output Level */
  HAL_GPIO_WritePin(GPIOB, GPIO_PIN_0_Pin|GPIO_PIN_1_Pin, GPIO_PIN_RESET);

  /*Configure GPIO pins : PCPin PCPin */
  GPIO_InitStruct.Pin = GPIO_PIN_4_Pin|GPIO_PIN_5_Pin;
  GPIO_InitStruct.Mode = GPIO_MODE_OUTPUT_PP;
  GPIO_InitStruct.Pull = GPIO_NOPULL;
  GPIO_InitStruct.Speed = GPIO_SPEED_FREQ_LOW;
  HAL_GPIO_Init(GPIOC, &GPIO_InitStruct);

  /*Configure GPIO pins : PBPin PBPin */
  GPIO_InitStruct.Pin = GPIO_PIN_0_Pin|GPIO_PIN_1_Pin;
  GPIO_InitStruct.Mode = GPIO_MODE_OUTPUT_PP;
  GPIO_InitStruct.Pull = GPIO_NOPULL;
  GPIO_InitStruct.Speed = GPIO_SPEED_FREQ_LOW;
  HAL_GPIO_Init(GPIOB, &GPIO_InitStruct);

}

/* USER CODE BEGIN 4 */
void get_pitch(){
	unsigned char star = '*';

	HAL_UART_Transmit(&huart1, &star, 1, 10);
	HAL_UART_Receive_DMA(&huart1, &IMUarray[0], 31);
	for(int i = 1; i < 31; i++){
		if(IMUarray[i] == ','){
			if(cnt0 == 0){
				cnt1 = i + 1;
			}
			else if (cnt0 == 1){
				cnt2 = i + 1;
			}
			cnt0++;
		}
		else{
			switch (cnt0){
			case 0:{
				alpha[i - 1] = IMUarray[i];
				break;
			}
			case 1:{
				beta[i - cnt1] = IMUarray[i];
				break;
			}
			case 2:{
				gamm[i - cnt2] = IMUarray[i];
				break;
			}
			}
		}
		if(IMUarray[i] == '\r'){
			cnt3 = i + 1;
			break;
		}
	}
	for (int j = cnt1 - 2; j < 7; j++){
		alpha[j] = '0';
	}
	for (int k = cnt2 - (cnt1); k < 8; k++){
		beta[k - 1] = '0';
	}
	for (int l = cnt3 - (cnt2); l < 8; l++){
		gamm[l - 1] = '0';
	}
	cnt0 = 0;

	roll_tp = strtod(alpha, &pos);
	pitch_tp = strtod(beta, &pos);
	yaw_tp = strtod(gamm, &pos);

	cnt4 += 1;
	pitch = roll_tp;
	roll = pitch_tp;
	yaw = yaw_tp;
}

unsigned long long getTimestamp(){
	gettimeofday(&tv, NULL);
	return (unsigned long long)tv.tv_sec * 1000000 + tv.tv_usec;
}
double P_D(double current_pitch){
	double error;
	error = target_pitch - current_pitch;
	return pTerm = Kp*error;
}

double P_I(double target_v, double current_v){
	double error;
	error = target_v - current_v;
	return pTerm = Kp*error;
}

double D(double current_pitch){
	d_deltaT = 0.020;
	/*prevError = d_error;
	d_error = target_pitch - current_pitch;*/
	dTerm = (double)Kd * (d_error - prevError)/d_deltaT;

	eeeeeeeeeee = (double)d_error - prevError;
	return dTerm;
}

double I(double target_v, double current_v){
	double error;
	error = target_v - current_v;
	double deltaT = 0.002;
	//integratedSum = integratedSum + error * deltaT;
	if(integratedSum < 4200 && integratedSum >-4200){
		integratedSum += error * deltaT;
	}
	/*static uint32_t integralResetCounter = 0;
	static const uint32_t integralResetInterval = 5000; // 500 * 0.001s = 0.5�??
	integralResetCounter++;
	if (integralResetCounter >= integralResetInterval) {
		integratedSum = 0.0; // ?��분기 초기?��
		integralResetCounter = 0; // 카운?�� 초기?��
	}*/
	if(integratedSum > 4200){
		integratedSum = 4200;
	}
	else if(integratedSum < -4200){
		integratedSum = -4200;
	}
	return iTerm = Ki * integratedSum;

}

double PD(double current_pitch){
	return P_D(current_pitch) + D(current_pitch);
}

double PI(double target_v, double current_v){
	return P_I(target_v, current_v) + I(target_v, current_v);
}

/* USER CODE END 4 */

void Error_Handler(void)
{
  __disable_irq();
  while (1)
  {
  }
}
